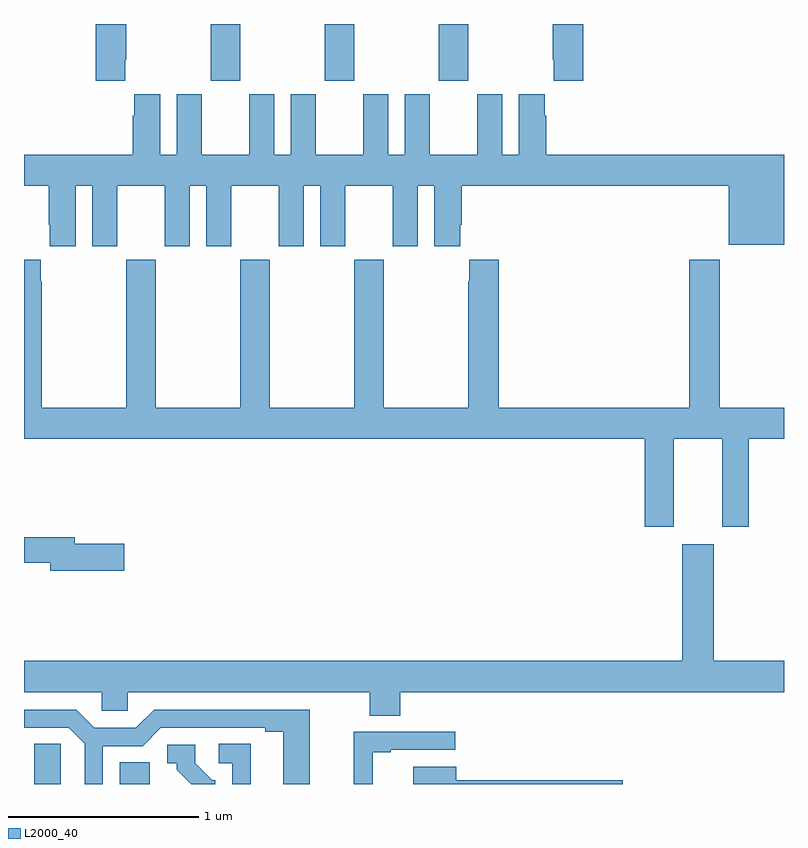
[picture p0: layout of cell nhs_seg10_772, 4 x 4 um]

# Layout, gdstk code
import gdstk
lib = gdstk.Library(unit=1e-6, precision=1e-09)
def R(c, l, rs):  # rectangles x0, y0, x1, y1
    for r in rs: c.add(gdstk.rectangle(r[:2], r[2:], *l))
def A(c, l, x, y, w, h, nx, ny, dx, dy):  # array of equal rectangles
    R(c, l, [(x+i*dx, y+j*dy, x+i*dx+w, y+j*dy+h) for i in range(nx) for j in range(ny)])
def P(c, l, *ps):  # polygons
    for p in ps: c.add(gdstk.Polygon(p, *l))
L2000_40 = (2000, 40)

nhs_seg10_772 = lib.new_cell('nhs_seg10_772')
A(nhs_seg10_772, L2000_40, 149.983, 1302.201, 0.155, 0.299, 3, 1, 0.6, 0)
R(nhs_seg10_772, L2000_40, [(149.504,1298.5,149.662,1298.615)])
P(nhs_seg10_772, L2000_40, [(151.943,1302.5),(151.783,1302.5),(151.783,1302.313),(151.787,1302.313),(151.787,1302.201),(151.943,1302.201)],
  [(149.533,1302.313),(149.538,1302.313),(149.538,1302.5),(149.378,1302.5),(149.378,1302.201),(149.533,1302.201)],
  [(149,1301.648),(149.129,1301.648),(149.129,1301.443),(149.135,1301.443),(149.135,1301.331),(149.272,1301.331),(149.272,1301.648),(149.36,1301.648),(149.36,1301.331),(149.491,1301.331),(149.491,1301.648),(149.741,1301.648),(149.741,1301.331),(149.872,1301.331),(149.872,1301.648),(149.96,1301.648),(149.96,1301.331),(150.091,1301.331),(150.091,1301.648),(150.341,1301.648),(150.341,1301.331),(150.472,1301.331),(150.472,1301.648),(150.56,1301.648),(150.56,1301.331),(150.691,1301.331),(150.691,1301.648),(150.941,1301.648),(150.941,1301.331),(151.072,1301.331),(151.072,1301.648),(151.16,1301.648),(151.16,1301.331),(151.297,1301.331),(151.297,1301.443),(151.304,1301.443),(151.304,1301.648),(152.708,1301.648),(152.708,1301.339),(153,1301.339),(153,1301.812),(151.748,1301.812),(151.748,1302.017),(151.741,1302.017),(151.741,1302.13),(151.604,1302.13),(151.604,1301.812),(151.516,1301.812),(151.516,1302.13),(151.385,1302.13),(151.385,1301.812),(151.135,1301.812),(151.135,1302.13),(151.004,1302.13),(151.004,1301.812),(150.916,1301.812),(150.916,1302.13),(150.785,1302.13),(150.785,1301.812),(150.535,1301.812),(150.535,1302.13),(150.404,1302.13),(150.404,1301.812),(150.316,1301.812),(150.316,1302.13),(150.185,1302.13),(150.185,1301.812),(149.935,1301.812),(149.935,1302.13),(149.804,1302.13),(149.804,1301.812),(149.716,1301.812),(149.716,1302.13),(149.579,1302.13),(149.579,1302.017),(149.573,1302.017),(149.573,1301.812),(149,1301.812)],
  [(152.419,1300.316),(152.675,1300.316),(152.675,1299.855),(152.815,1299.855),(152.815,1300.316),(153,1300.316),(153,1300.48),(152.661,1300.48),(152.661,1301.26),(152.501,1301.26),(152.501,1300.48),(151.499,1300.48),(151.499,1301.26),(151.343,1301.26),(151.343,1301.147),(151.339,1301.147),(151.339,1300.48),(150.894,1300.48),(150.894,1301.26),(150.739,1301.26),(150.739,1300.48),(150.294,1300.48),(150.294,1301.26),(150.139,1301.26),(150.139,1300.48),(149.694,1300.48),(149.694,1301.26),(149.539,1301.26),(149.539,1300.48),(149.094,1300.48),(149.094,1301.147),(149.089,1301.147),(149.089,1301.26),(149,1301.26),(149,1300.316),(152.267,1300.316),(152.267,1299.855),(152.419,1299.855)],
  [(149.527,1299.764),(149.266,1299.764),(149.266,1299.8),(149,1299.8),(149,1299.664),(149.138,1299.664),(149.138,1299.622),(149.527,1299.622)],
  [(150.98,1298.984),(153,1298.984),(153,1299.148),(152.629,1299.148),(152.629,1299.763),(152.465,1299.763),(152.465,1299.148),(149,1299.148),(149,1298.984),(149.409,1298.984),(149.409,1298.886),(149.547,1298.886),(149.547,1298.984),(150.82,1298.984),(150.82,1298.86),(150.98,1298.86)],
  [(149.415,1298.7),(149.625,1298.7),(149.721,1298.796),(150.269,1298.796),(150.269,1298.776),(150.365,1298.776),(150.365,1298.5),(150.505,1298.5),(150.505,1298.892),(149.685,1298.892),(149.589,1298.796),(149.371,1298.796),(149.275,1298.892),(149,1298.892),(149,1298.796),(149.235,1298.796),(149.319,1298.712),(149.319,1298.5),(149.415,1298.5)],
  [(150.836,1298.667),(150.931,1298.667),(150.931,1298.679),(151.27,1298.679),(151.27,1298.775),(150.736,1298.775),(150.736,1298.5),(150.836,1298.5)],
  [(150.193,1298.711),(150.024,1298.711),(150.024,1298.61),(150.096,1298.61),(150.096,1298.5),(150.193,1298.5)],
  [(149.194,1298.603),(149.193,1298.603),(149.193,1298.711),(149.054,1298.711),(149.054,1298.5),(149.194,1298.5)],
  [(150.006,1298.52),(149.991,1298.52),(149.901,1298.61),(149.901,1298.706),(149.754,1298.706),(149.754,1298.61),(149.804,1298.61),(149.804,1298.575),(149.879,1298.5),(150.006,1298.5)],
  [(152.152,1298.521),(151.276,1298.521),(151.276,1298.59),(151.049,1298.59),(151.049,1298.5),(152.152,1298.5)])

lib.write_gds('nhs_seg10_772.gds')
